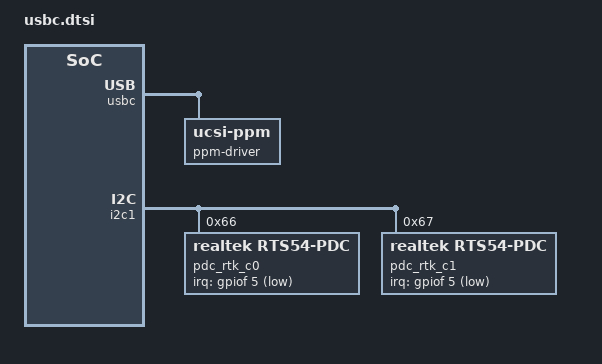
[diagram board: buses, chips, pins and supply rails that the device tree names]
/* Copyright 2026 The ChromiumOS Authors
 * Use of this source code is governed by a BSD-style license that can be
 * found in the LICENSE file.
 */
#include <usbc-policy.dtsi>

 /{
	usbc {
		#address-cells = <1>;
		#size-cells = <0>;
		usbc_port0: port0@0 {
			compatible = "named-usbc-port";
			reg = <0>;
			chg = <&charger>;
			pdc = <&pdc_rtk_c0>;
			policy = <&cros_policy>;
		};
		usbc_port1: port1@1 {
			compatible = "named-usbc-port";
			reg = <1>;
			pdc = <&pdc_rtk_c1>;
			policy = <&cros_policy>;
		};
		ppm-driver {
			compatible = "ucsi-ppm";
		};
	};
};

&i2c1 {
	pdc_rtk_c0: rts54-pdc@66 {
		compatible = "realtek,rts54-pdc";
		reg = <0x66>;
		irq-gpios = <&gpiof 5 GPIO_ACTIVE_LOW>;
		ccd;
	};
	pdc_rtk_c1: rts54-pdc@67 {
		compatible = "realtek,rts54-pdc";
		reg = <0x67>;
		irq-gpios = <&gpiof 5 GPIO_ACTIVE_LOW>;
		no-fw-update;
	};
};
